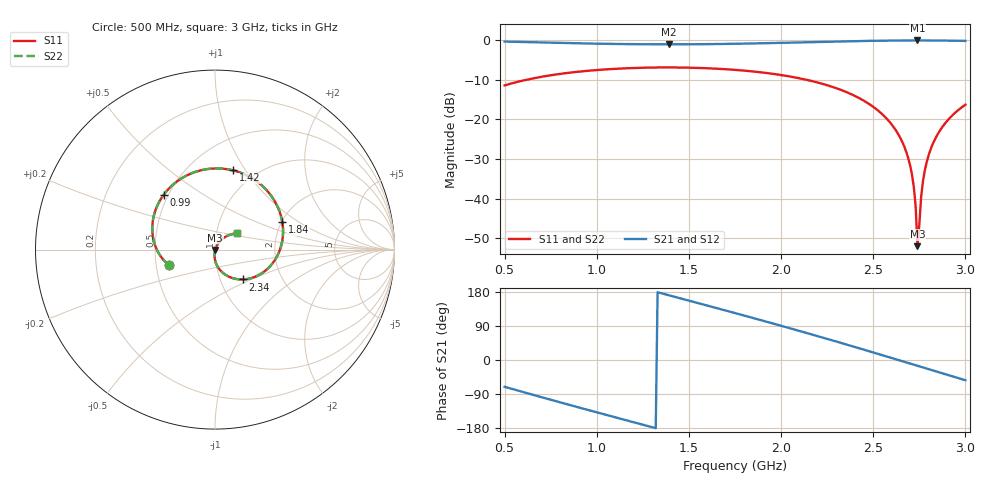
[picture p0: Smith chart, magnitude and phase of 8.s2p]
!freq-unit  param-type  data-format  keyword  impedance-ohms
# GHZ  S  RI  R  50
!Freq  ReS11  ImS11  ReS21  ImS21  ReS12  ImS12  ReS22  ImS22
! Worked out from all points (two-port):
!   251 points, 500 MHz to 3 GHz, reference 50 ohm
!   highest |S21| = -0.07 dB at 2.74 GHz (marker M1); lowest = -1.0 dB at 1.39 GHz (marker M2)
!   |S21| within 3 dB of the highest: start of sweep to end of sweep
!   lowest |S11| = -52.0 dB at 2.74 GHz (marker M3), VSWR 1.01, Z = 50.1 - j0.22 ohm
!   |S11| at or under -10 dB: start of sweep to 618 MHz; 2.138 GHz to end of sweep
!   |S22| runs from -52.0 to -6.9 dB; largest |S21 - S12| = 0
!   S11 on the Smith chart (normalised r, x): 500 MHz: 0.59, -0.11; 990 MHz: 0.47, +0.35; 1.42 GHz: 0.79, +0.88; 1.84 GHz: 2.02, +0.73; 2.34 GHz: 1.28, -0.45; 3 GHz: 1.26, +0.23
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0.5  -0.2538 -0.0881  0.3166 -0.9071  0.3166 -0.9071  -0.2538 -0.0881
0.7  -0.3414 0.0491  -0.1321 -0.9262  -0.1321 -0.9262  -0.3414 0.0491
0.92  -0.3205 0.2467  -0.5549 -0.7224  -0.5549 -0.7224  -0.3205 0.2467
0.99  -0.2862 0.305  -0.659 -0.6195  -0.659 -0.6195  -0.2862 0.305
1.34  0.0195 0.4522  -0.8862 0.0381  -0.8862 0.0381  0.0195 0.4522
1.39  0.0705 0.4475  -0.8759 0.1381  -0.8759 0.1381  0.0705 0.4475
1.42  0.1007 0.4414  -0.8646 0.1974  -0.8646 0.1974  0.1007 0.4414
1.75  0.3501 0.2359  -0.5026 0.7478  -0.5026 0.7478  0.3501 0.2359
1.84  0.3752 0.1517  -0.3394 0.8429  -0.3394 0.8429  0.3752 0.1517
2.17  0.28 -0.1179  0.3705 0.8708  0.3705 0.8708  0.28 -0.1179
2.34  0.1567 -0.1661  0.7073 0.6592  0.7073 0.6592  0.1567 -0.1661
2.59  0.0126 -0.0914  0.9815 0.1172  0.9815 0.1172  0.0126 -0.0914
2.66  -0.00135 -0.0505  0.9896 -0.0599  0.9896 -0.0599  -0.00135 -0.0505
2.7  -0.00255 -0.0261  0.979 -0.1612  0.979 -0.1612  -0.00255 -0.0261
2.72  -0.00128 -0.0141  0.9697 -0.2113  0.9697 -0.2113  -0.00128 -0.0141
2.73  -0.000184 -0.0081  0.964 -0.2362  0.964 -0.2362  -0.000184 -0.0081
2.74  0.00122 -0.00219  0.9576 -0.2609  0.9576 -0.2609  0.00122 -0.00219
2.76  0.00493 0.00936  0.9428 -0.3097  0.9428 -0.3097  0.00493 0.00936
2.77  0.00723 0.015  0.9344 -0.3338  0.9344 -0.3338  0.00723 0.015
2.81  0.0193 0.0362  0.8945 -0.4277  0.8945 -0.4277  0.0193 0.0362
2.88  0.0502 0.0665  0.8014 -0.5792  0.8014 -0.5792  0.0502 0.0665
3  0.1242 0.0899  0.5839 -0.7873  0.5839 -0.7873  0.1242 0.0899
